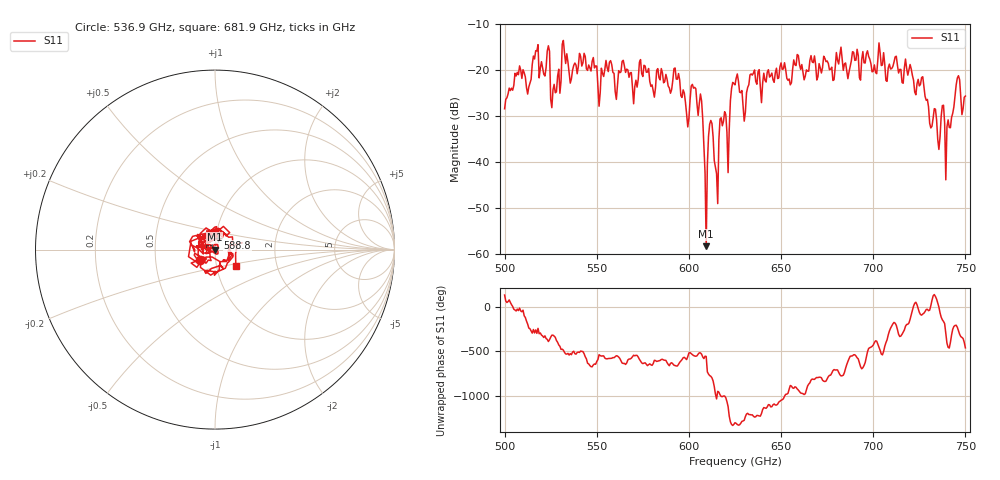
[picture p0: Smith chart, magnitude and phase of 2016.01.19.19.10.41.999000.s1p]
!Created with skrf (http://scikit-rf.org).
# GHz S RI R 50.0
!freq ReS11 ImS11
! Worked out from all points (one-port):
!   401 points, 500 GHz to 750 GHz, reference 50 ohm
!   lowest |S11| = -58.3 dB at 609.4 GHz (marker M1), VSWR 1.00, Z = 49.9 + j0.0328 ohm
!   |S11| at or under -10 dB: start of sweep to end of sweep
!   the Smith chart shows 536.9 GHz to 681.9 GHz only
!   S11 on the Smith chart (normalised r, x): 536.9 GHz: 0.84, -0.09; 588.8 GHz: 1.02, +0.13; 681.9 GHz: 1.24, -0.23
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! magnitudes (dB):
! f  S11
! 500 GHz  -28.4
! 506.9 GHz  -20.5
! 513.1 GHz  -23.6
! 516.9 GHz  -15.7
! 523.1 GHz  -15.9
! 526.2 GHz  -24.3
! 531.2 GHz  -14.3
! 536.9 GHz  -20.0
! 562.5 GHz  -20.5
! 588.8 GHz  -23.5
! 593.8 GHz  -22.0
! 598.8 GHz  -29.5
! 606.2 GHz  -25.2
! 609.4 GHz  -58.3
! 611.9 GHz  -30.9
! 615 GHz  -42.5
! 618.1 GHz  -32.1
! 625 GHz  -23.2
! 630 GHz  -31.1
! 634.4 GHz  -21.1
! 656.2 GHz  -19.9
! 681.9 GHz  -16.6
! 687.5 GHz  -19.1
! 718.8 GHz  -21.1
! 735.6 GHz  -37.3
! 740.6 GHz  -30.8
! 745.6 GHz  -21.7
! 750 GHz  -25.6
